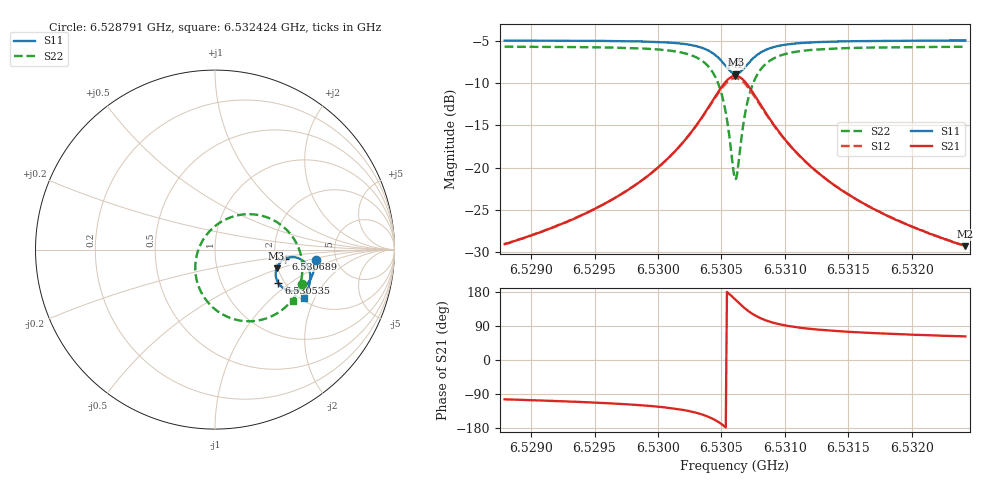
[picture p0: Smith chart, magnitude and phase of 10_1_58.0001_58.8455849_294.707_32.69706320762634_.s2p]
#  HZ  S  RI  R  50.00
! Rohde & Schwarz Vector Network Analyzer
! Rohde-Schwarz,ZNB20-2Port,1311601062101988,3.16
! Created: UTC 3/21/2024, 12:50:44 AM
! freq[Hz]  re:S11  im:S11  re:S21  im:S21  re:S12  im:S12  re:S22  im:S22
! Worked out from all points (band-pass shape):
!   401 points, 6.528791 GHz to 6.532424 GHz, reference 50 ohm
!   highest |S21| = -9.13 dB at 6.530608 GHz (marker M1); lowest = -29.3 dB at 6.532424 GHz (marker M2)
!   |S21| within 3 dB of the highest: 6.530429 GHz to 6.530792 GHz (363.3 kHz wide, 0.00556 % of centre)
!   lowest |S11| = -8.9 dB at 6.530617 GHz (marker M3), VSWR 2.12, Z = 98.5 - j23.7 ohm
!   |S11| at or under -10 dB: nowhere
!   |S22| runs from -21.4 to -5.7 dB; largest |S21 - S12| = 0.015
!   S11 on the Smith chart (normalised r, x): 6.528791 GHz: 3.48, -0.59; 6.530535 GHz: 1.85, -0.82; 6.530689 GHz: 2.27, -0.27; 6.532424 GHz: 2.11, -1.65
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6.5287911e9  0.5612 -0.0577  -0.00839 -0.0343  -0.00921 -0.0343  0.4829 -0.1909
6.5293997e9  0.5519 -0.1106  -0.0187 -0.049  -0.02 -0.0486  0.4502 -0.2528
6.5297357e9  0.5412 -0.1443  -0.032 -0.0642  -0.0337 -0.0634  0.4157 -0.2975
6.5300082e9  0.5243 -0.1772  -0.056 -0.0846  -0.0585 -0.083  0.3618 -0.3449
6.5302261e9  0.4942 -0.2095  -0.1033 -0.1087  -0.1065 -0.1048  0.2664 -0.3893
6.5303805e9  0.4445 -0.2294  -0.1833 -0.1164  -0.186 -0.108  0.1198 -0.3915
6.5304714e9  0.3926 -0.2211  -0.2648 -0.0837  -0.2631 -0.0718  -0.0148 -0.3195
6.5305077e9  0.3689 -0.2053  -0.3003 -0.0495  -0.295 -0.037  -0.0675 -0.2543
6.5305349e9  0.3531 -0.1867  -0.3225 -0.0126  -0.3143 -0.00106  -0.097 -0.1885
6.5305894e9  0.3381 -0.1337  -0.3367 0.0843  -0.3235 0.0909  -0.1006 -0.026
6.5306076e9  0.3405 -0.1142  -0.3286 0.1189  -0.3149 0.1228  -0.0804 0.0287
6.5306167e9  0.3433 -0.1046  -0.3218 0.1353  -0.3082 0.1381  -0.0667 0.0545
6.5306348e9  0.3519 -0.0869  -0.304 0.1658  -0.2908 0.1662  -0.0316 0.1009
6.5306893e9  0.3925 -0.0506  -0.2274 0.2258  -0.2185 0.2218  0.1051 0.1856
6.5307166e9  0.4155 -0.0434  -0.1867 0.2371  -0.1799 0.2324  0.175 0.1972
6.5307529e9  0.4434 -0.0427  -0.1381 0.238  -0.1337 0.2335  0.2567 0.1895
6.5308437e9  0.4911 -0.0628  -0.0575 0.2069  -0.0555 0.2043  0.3888 0.12
6.53098e9  0.5205 -0.1007  -0.00734 0.1538  -0.00634 0.153  0.4644 0.0125
6.5312161e9  0.531 -0.1479  0.0145 0.099  0.0156 0.0989  0.4871 -0.101
6.5314522e9  0.5285 -0.1801  0.0184 0.071  0.0194 0.0708  0.4814 -0.1642
6.5318246e9  0.5188 -0.2183  0.0182 0.0481  0.019 0.0478  0.4633 -0.2251
6.532424e9  0.4984 -0.2672  0.0161 0.0304  0.0167 0.0302  0.4326 -0.2864
